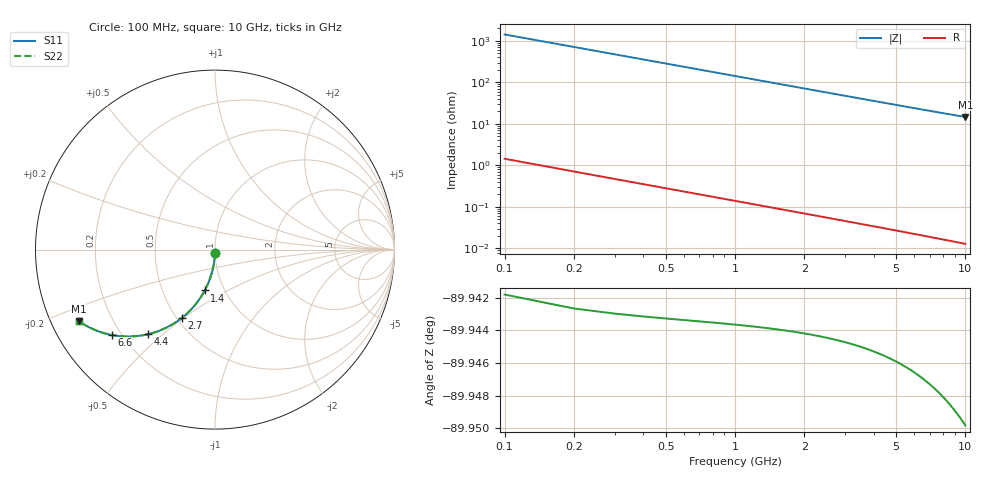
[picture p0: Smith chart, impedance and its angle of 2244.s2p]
# Hz S RI R 50.00
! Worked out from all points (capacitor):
!   100 points, 100 MHz to 10 GHz, reference 50 ohm
!   read as one part in shunt: C = 1.12 pF near 100 MHz
!   lowest |Z| = 14.7 ohm at 10 GHz (marker M1)
!   S11 on the Smith chart (normalised r, x): 100 MHz: 1.00, -0.03; 1.4 GHz: 0.81, -0.39; 2.7 GHz: 0.53, -0.49; 4.4 GHz: 0.30, -0.45; 6.6 GHz: 0.16, -0.35; 10 GHz: 0.08, -0.24
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1e8  -0.000266 -0.0173  0.9996 -0.0178  0.9996 -0.0178  -0.000266 -0.0173
2e8  -0.0012 -0.0345  0.9987 -0.0356  0.9987 -0.0356  -0.0012 -0.0345
3e8  -0.00275 -0.0516  0.9971 -0.0533  0.9971 -0.0533  -0.00275 -0.0516
4e8  -0.0049 -0.0687  0.995 -0.0709  0.995 -0.0709  -0.0049 -0.0687
5e8  -0.00765 -0.0857  0.9922 -0.0883  0.9922 -0.0883  -0.00765 -0.0857
6e8  -0.011 -0.1024  0.9889 -0.1056  0.9889 -0.1056  -0.011 -0.1024
7e8  -0.0149 -0.119  0.985 -0.1228  0.985 -0.1228  -0.0149 -0.119
9e8  -0.0244 -0.1516  0.9755 -0.1564  0.9755 -0.1564  -0.0244 -0.1516
1.1e9  -0.036 -0.183  0.9639 -0.1889  0.9639 -0.1889  -0.036 -0.183
1.4e9  -0.057 -0.2278  0.9428 -0.2353  0.9428 -0.2353  -0.057 -0.2278
1.8e9  -0.0909 -0.2822  0.9089 -0.2919  0.9089 -0.2919  -0.0909 -0.2822
2.2e9  -0.13 -0.33  0.8698 -0.3418  0.8698 -0.3418  -0.13 -0.33
2.7e9  -0.1838 -0.3796  0.816 -0.3942  0.816 -0.3942  -0.1838 -0.3796
3.4e9  -0.2634 -0.4309  0.7363 -0.4492  0.7363 -0.4492  -0.2634 -0.4309
4.4e9  -0.3751 -0.4718  0.6245 -0.4956  0.6245 -0.4956  -0.3751 -0.4718
5.1e9  -0.4469 -0.4828  0.5525 -0.5106  0.5525 -0.5106  -0.4469 -0.4828
5.8e9  -0.5116 -0.4835  0.4877 -0.5152  0.4877 -0.5152  -0.5116 -0.4835
6.6e9  -0.5764 -0.4754  0.4228 -0.5117  0.4228 -0.5117  -0.5764 -0.4754
6.7e9  -0.5838 -0.4739  0.4154 -0.5108  0.4154 -0.5108  -0.5838 -0.4739
7.5e9  -0.6381 -0.4592  0.3609 -0.5006  0.3609 -0.5006  -0.6381 -0.4592
8.4e9  -0.6895 -0.4386  0.3093 -0.4853  0.3093 -0.4853  -0.6895 -0.4386
1e10  -0.7602 -0.3978  0.238 -0.454  0.238 -0.454  -0.7602 -0.3978
